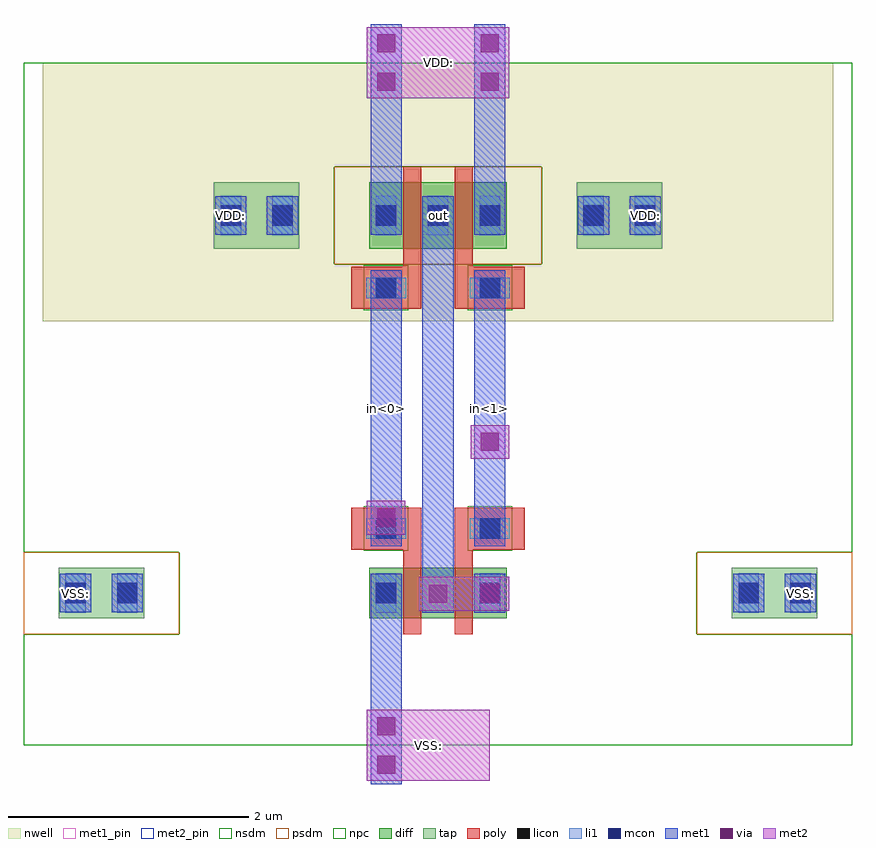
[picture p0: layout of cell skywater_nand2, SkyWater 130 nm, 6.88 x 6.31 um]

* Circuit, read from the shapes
.subckt skywater_nand2 VDD: VSS: in<0> in<1> out
XM1 n1 in<0> VSS: VSS: sky130_fd_pr__nfet_01v8 w=0.42 l=0.15
XM2 out in<1> n1 VSS: sky130_fd_pr__nfet_01v8 w=0.42 l=0.15
XM3 out in<0> VDD: VDD: sky130_fd_pr__pfet_01v8 w=0.55 l=0.15
XM4 VDD: in<1> out VDD: sky130_fd_pr__pfet_01v8 w=0.55 l=0.15
.ends

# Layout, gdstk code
from math import pi, radians
import gdstk
lib = gdstk.Library(unit=1e-6, precision=1e-09)
def R(c, l, rs):  # rectangles x0, y0, x1, y1
    for r in rs: c.add(gdstk.rectangle(r[:2], r[2:], *l))
def A(c, l, x, y, w, h, nx, ny, dx, dy):  # array of equal rectangles
    R(c, l, [(x+i*dx, y+j*dy, x+i*dx+w, y+j*dy+h) for i in range(nx) for j in range(ny)])
def P(c, l, *ps):  # polygons
    for p in ps: c.add(gdstk.Polygon(p, *l))
nwell = (64, 20)
diff = (65, 20)
tap = (65, 44)
poly = (66, 20)
licon = (66, 44)
li1 = (67, 20)
mcon = (67, 44)
met1_pin = (68, 16)
met1 = (68, 20)
via = (68, 44)
met2_pin = (69, 16)
met2 = (69, 20)
nsdm = (93, 44)
psdm = (94, 20)
npc = (95, 20)

skywater_nand2_mosend = lib.new_cell('skywater_nand2_MOSEnd')
R(skywater_nand2_mosend, nsdm, [(0,0,6.02,0.73)])

skywater_nand2_mosend_1 = lib.new_cell('skywater_nand2_MOSEnd_1')
R(skywater_nand2_mosend_1, nwell, [(0,0,6.02,0.67)])
R(skywater_nand2_mosend_1, nsdm, [(0,0,6.02,0.67)])

skywater_nand2_mosconn_1 = lib.new_cell('skywater_nand2_MOSConn_1')
R(skywater_nand2_mosconn_1, diff, [(-0.14,0.605,1,1.025)])
R(skywater_nand2_mosconn_1, poly, [(-0.165,0.105,0.165,0.455), (0.695,0.105,1.025,0.455)])
P(skywater_nand2_mosconn_1, poly, [(0.14,1.155),(0.14,0.455),(-0.29,0.455),(-0.29,0.105),(0.29,0.105),(0.29,1.155)],
  [(0.57,1.155),(0.57,0.105),(1.15,0.105),(1.15,0.455),(0.72,0.455),(0.72,1.155)])
R(skywater_nand2_mosconn_1, licon, [(-0.085,0.195,0.085,0.365), (0.775,0.195,0.945,0.365), (-0.085,0.73,0.085,0.9), (0.775,0.73,0.945,0.9)])
R(skywater_nand2_mosconn_1, li1, [(-0.165,0.195,0.165,0.365), (-0.165,0.195,0.165,0.365), (-0.125,0.195,0.125,0.365), (0.695,0.195,1.025,0.365), (0.695,0.195,1.025,0.365), (0.735,0.195,0.985,0.365), (-0.085,0.65,0.085,0.98), (0.775,0.65,0.945,0.98), (-0.085,0.69,0.085,0.94), (0.775,0.69,0.945,0.94)])
R(skywater_nand2_mosconn_1, mcon, [(-0.085,0.195,0.085,0.365), (0.775,0.195,0.945,0.365), (-0.085,0.73,0.085,0.9), (0.775,0.73,0.945,0.9)])
R(skywater_nand2_mosconn_1, met1, [(-0.13,0.105,0.13,0.425), (0.73,0.105,0.99,0.425), (-0.13,0.135,0.13,0.425), (0.73,0.135,0.99,0.425), (-0.13,0.655,0.13,0.975), (0.73,0.655,0.99,0.975), (-0.13,0.67,0.13,0.96), (0.73,0.67,0.99,0.96)])
R(skywater_nand2_mosconn_1, nsdm, [(0,0,0.86,1.35)])
R(skywater_nand2_mosconn_1, npc, [(-0.185,0.095,0.185,0.465), (0.675,0.095,1.045,0.465)])

skywater_nand2_mosconn = lib.new_cell('skywater_nand2_MOSConn')
R(skywater_nand2_mosconn, nwell, [(0,0,0.86,1.48)])
R(skywater_nand2_mosconn, diff, [(-0.14,0.605,1,1.155)])
R(skywater_nand2_mosconn, poly, [(-0.165,0.105,0.165,0.455), (0.695,0.105,1.025,0.455)])
P(skywater_nand2_mosconn, poly, [(0.14,1.285),(0.14,0.455),(-0.29,0.455),(-0.29,0.105),(0.29,0.105),(0.29,1.285)],
  [(0.57,1.285),(0.57,0.105),(1.15,0.105),(1.15,0.455),(0.72,0.455),(0.72,1.285)])
A(skywater_nand2_mosconn, licon, -0.085, 0.795, 0.17, 0.17, 3, 1, 0.43, 0)
R(skywater_nand2_mosconn, licon, [(-0.085,0.195,0.085,0.365), (0.775,0.195,0.945,0.365)])
A(skywater_nand2_mosconn, li1, -0.085, 0.715, 0.17, 0.33, 3, 1, 0.43, 0)
A(skywater_nand2_mosconn, li1, -0.085, 0.755, 0.17, 0.25, 3, 1, 0.43, 0)
R(skywater_nand2_mosconn, li1, [(-0.165,0.195,0.165,0.365), (-0.165,0.195,0.165,0.365), (-0.125,0.195,0.125,0.365), (0.695,0.195,1.025,0.365), (0.695,0.195,1.025,0.365), (0.735,0.195,0.985,0.365)])
A(skywater_nand2_mosconn, mcon, -0.085, 0.795, 0.17, 0.17, 3, 1, 0.43, 0)
R(skywater_nand2_mosconn, mcon, [(-0.085,0.195,0.085,0.365), (0.775,0.195,0.945,0.365)])
A(skywater_nand2_mosconn, met1, -0.13, 0.72, 0.26, 0.32, 3, 1, 0.43, 0)
A(skywater_nand2_mosconn, met1, -0.13, 0.735, 0.26, 0.29, 3, 1, 0.43, 0)
R(skywater_nand2_mosconn, met1, [(-0.13,0.105,0.13,0.425), (0.73,0.105,0.99,0.425), (-0.13,0.135,0.13,0.425), (0.73,0.135,0.99,0.425)])
R(skywater_nand2_mosconn, nsdm, [(0,0,0.86,0.475), (0,1.285,0.86,1.48)])
R(skywater_nand2_mosconn, psdm, [(0,0.475,0.86,1.285)])
R(skywater_nand2_mosconn, npc, [(-0.185,0.095,0.185,0.465), (0.675,0.095,1.045,0.465)])

skywater_nand2_nand2core = lib.new_cell('skywater_nand2_NAND2Core')
R(skywater_nand2_nand2core, met1, [(-0.13,-0.32,0.13,1.425), (-0.13,-0.32,0.13,0.32), (0.3,1.1,0.56,4.56), (0.3,1.1,0.56,1.42), (0.73,1.1,0.99,1.425), (0.73,1.1,0.99,1.42), (-0.13,1.655,0.13,3.945), (0.73,1.655,0.99,3.945), (-0.13,1.73,0.13,2.05), (0.73,2.36,0.99,2.68), (-0.13,4.24,0.13,5.99), (0.73,4.24,0.99,5.99), (-0.13,5.35,0.13,5.99), (0.73,5.35,0.99,5.99)])
R(skywater_nand2_nand2core, via, [(-0.075,-0.235,0.075,-0.085), (-0.075,0.085,0.075,0.235), (0.355,1.185,0.505,1.335), (0.785,1.185,0.935,1.335), (-0.075,1.815,0.075,1.965), (0.785,2.445,0.935,2.595), (-0.075,5.435,0.075,5.585), (0.785,5.435,0.935,5.585), (-0.075,5.755,0.075,5.905), (0.785,5.755,0.935,5.905)])
R(skywater_nand2_nand2core, met2, [(-0.16,-0.295,0.86,0.295), (-0.16,-0.295,0.16,0.295), (0.27,1.12,1.02,1.4), (0.27,1.12,0.59,1.4), (0.7,1.12,1.02,1.4), (-0.16,1.75,0.16,2.03), (-0.16,1.75,0.16,2.03), (0.7,2.38,1.02,2.66), (0.7,2.38,1.02,2.66), (-0.16,5.375,1.02,5.965), (-0.16,5.375,0.16,5.965), (0.7,5.375,1.02,5.965)])
skywater_nand2_nand2core.add(gdstk.Reference(skywater_nand2_mosconn_1, (0,2.08), x_reflection=True))
skywater_nand2_nand2core.add(gdstk.Reference(skywater_nand2_mosconn, (0,3.52)))

skywater_nand2_mostap = lib.new_cell('skywater_nand2_MOSTap')
R(skywater_nand2_mostap, tap, [(-0.14,0.605,0.57,1.025)])
R(skywater_nand2_mostap, licon, [(-0.085,0.73,0.085,0.9), (0.345,0.73,0.515,0.9)])
R(skywater_nand2_mostap, li1, [(-0.085,0.65,0.085,0.98), (0.345,0.65,0.515,0.98), (-0.085,0.69,0.085,0.94), (0.345,0.69,0.515,0.94)])
R(skywater_nand2_mostap, mcon, [(-0.085,0.73,0.085,0.9), (0.345,0.73,0.515,0.9)])
R(skywater_nand2_mostap, met1, [(-0.13,0.655,0.13,0.975), (0.3,0.655,0.56,0.975), (-0.13,0.67,0.13,0.96), (0.3,0.67,0.56,0.96)])
R(skywater_nand2_mostap, nsdm, [(0,0,0.43,0.475), (0,1.155,0.43,1.35)])
R(skywater_nand2_mostap, psdm, [(0,0.475,0.43,1.155)])

skywater_nand2_mostap_1 = lib.new_cell('skywater_nand2_MOSTap_1')
R(skywater_nand2_mostap_1, nwell, [(0,0,0.43,1.48)])
R(skywater_nand2_mostap_1, tap, [(-0.14,0.605,0.57,1.155)])
R(skywater_nand2_mostap_1, licon, [(-0.085,0.795,0.085,0.965), (0.345,0.795,0.515,0.965)])
R(skywater_nand2_mostap_1, li1, [(-0.085,0.715,0.085,1.045), (0.345,0.715,0.515,1.045), (-0.085,0.755,0.085,1.005), (0.345,0.755,0.515,1.005)])
R(skywater_nand2_mostap_1, mcon, [(-0.085,0.795,0.085,0.965), (0.345,0.795,0.515,0.965)])
R(skywater_nand2_mostap_1, met1, [(-0.13,0.72,0.13,1.04), (0.3,0.72,0.56,1.04), (-0.13,0.735,0.13,1.025), (0.3,0.735,0.56,1.025)])
R(skywater_nand2_mostap_1, nsdm, [(0,0,0.43,1.48)])

c_skywater_nand2_nand2core = lib.new_cell('skywater_nand2_NAND2CoreTap')
c_skywater_nand2_nand2core.add(gdstk.Reference(skywater_nand2_nand2core, (2.58,0)))
c_skywater_nand2_nand2core.add(gdstk.Reference(skywater_nand2_mostap, (0,2.08), x_reflection=True))
c_skywater_nand2_nand2core.add(gdstk.Reference(skywater_nand2_mostap, (6.02,2.08), rotation=pi))
c_skywater_nand2_nand2core.add(gdstk.Reference(skywater_nand2_mostap_1, (4.73,3.52), rotation=pi, x_reflection=True))
c_skywater_nand2_nand2core.add(gdstk.Reference(skywater_nand2_mostap_1, (1.29,3.52)))

skywater_nand2_moscorner = lib.new_cell('skywater_nand2_MOSCorner')
R(skywater_nand2_moscorner, nsdm, [(0,0,0.43,0.73)])

c_skywater_nand2_moscorner = lib.new_cell('skywater_nand2_MOSCorner_1')
R(c_skywater_nand2_moscorner, nwell, [(0.16,0,0.43,0.67)])
R(c_skywater_nand2_moscorner, nsdm, [(0,0,0.43,0.67)])

skywater_nand2_mosrowedg = lib.new_cell('skywater_nand2_MOSRowEdge')
R(skywater_nand2_mosrowedg, nsdm, [(0,0,0.43,0.475), (0,1.155,0.43,1.35)])
R(skywater_nand2_mosrowedg, psdm, [(0,0.475,0.43,1.155)])

c_skywater_nand2_mosrowedg = lib.new_cell('skywater_nand2_MOSRowEdge_1')
R(c_skywater_nand2_mosrowedg, nwell, [(0.16,0,0.43,1.48)])
R(c_skywater_nand2_mosrowedg, nsdm, [(0,0,0.43,1.48)])

skywater_nand2_mosspace = lib.new_cell('skywater_nand2_MOSSpace')
P(skywater_nand2_mosspace, nsdm, [(0,1.35),(0,1.155),(0.43,1.155),(0.43,0.475),(0,0.475),(0,0),(2.15,0),(2.15,1.35)])
R(skywater_nand2_mosspace, psdm, [(0,0.475,0.43,1.155)])

skywater_nand2_mosspace_ = lib.new_cell('skywater_nand2_MOSSpace_1')
P(skywater_nand2_mosspace_, nsdm, [(0,1.35),(0,0),(2.15,0),(2.15,0.475),(1.72,0.475),(1.72,1.155),(2.15,1.155),(2.15,1.35)])
R(skywater_nand2_mosspace_, psdm, [(1.72,0.475,2.15,1.155)])

c_skywater_nand2_mosspace_ = lib.new_cell('skywater_nand2_MOSSpace_2')
R(c_skywater_nand2_mosspace_, nwell, [(0,0,1.29,1.48)])
R(c_skywater_nand2_mosspace_, nsdm, [(0,0,1.29,1.48)])

c_skywater_nand2_mosspace__ = lib.new_cell('skywater_nand2_MOSSpace_5')
R(c_skywater_nand2_mosspace__, nwell, [(0,0,1.29,1.48)])
R(c_skywater_nand2_mosspace__, nsdm, [(0,0,1.29,1.48)])

c_skywater_nand2_mosspace___ = lib.new_cell('skywater_nand2_MOSSpace_3')
R(c_skywater_nand2_mosspace___, nwell, [(0,0,0.86,1.48)])
P(c_skywater_nand2_mosspace___, nsdm, [(0,1.48),(0,0),(0.86,0),(0.86,0.475),(0.43,0.475),(0.43,1.285),(0.86,1.285),(0.86,1.48)])
R(c_skywater_nand2_mosspace___, psdm, [(0.43,0.475,0.86,1.285)])

c_skywater_nand2_mosspace____ = lib.new_cell('skywater_nand2_MOSSpace_4')
R(c_skywater_nand2_mosspace____, nwell, [(0,0,0.86,1.48)])
P(c_skywater_nand2_mosspace____, nsdm, [(0,1.48),(0,1.285),(0.43,1.285),(0.43,0.475),(0,0.475),(0,0),(0.86,0),(0.86,1.48)])
R(c_skywater_nand2_mosspace____, psdm, [(0,0.475,0.43,1.285)])

skywater_nand2_nand2 = lib.new_cell('skywater_nand2_NAND2')
R(skywater_nand2_nand2, nsdm, [(0,2.08,6.88,3.52)])
skywater_nand2_nand2.add(gdstk.Reference(skywater_nand2_mosend, (0.43,0)))
skywater_nand2_nand2.add(gdstk.Reference(skywater_nand2_mosend_1, (0.43,5.67), x_reflection=True))
skywater_nand2_nand2.add(gdstk.Reference(c_skywater_nand2_nand2core, (0.43,0)))
skywater_nand2_nand2.add(gdstk.Reference(skywater_nand2_moscorner, (0,0)))
skywater_nand2_nand2.add(gdstk.Reference(skywater_nand2_moscorner, (6.88,0), rotation=pi, x_reflection=True))
skywater_nand2_nand2.add(gdstk.Reference(c_skywater_nand2_moscorner, (0,5.67), x_reflection=True))
skywater_nand2_nand2.add(gdstk.Reference(c_skywater_nand2_moscorner, (6.88,5.67), rotation=pi))
skywater_nand2_nand2.add(gdstk.Reference(skywater_nand2_mosrowedg, (0,2.08), x_reflection=True))
skywater_nand2_nand2.add(gdstk.Reference(skywater_nand2_mosrowedg, (6.88,2.08), rotation=pi))
skywater_nand2_nand2.add(gdstk.Reference(c_skywater_nand2_mosrowedg, (0,3.52)))
skywater_nand2_nand2.add(gdstk.Reference(c_skywater_nand2_mosrowedg, (6.88,3.52), rotation=pi, x_reflection=True))
skywater_nand2_nand2.add(gdstk.Reference(skywater_nand2_mosspace, (0.86,2.08), x_reflection=True))
skywater_nand2_nand2.add(gdstk.Reference(skywater_nand2_mosspace_, (3.87,2.08), x_reflection=True))
skywater_nand2_nand2.add(gdstk.Reference(c_skywater_nand2_mosspace_, (0.43,3.52)))
skywater_nand2_nand2.add(gdstk.Reference(c_skywater_nand2_mosspace__, (5.16,3.52)))
skywater_nand2_nand2.add(gdstk.Reference(c_skywater_nand2_mosspace___, (2.15,3.52)))
skywater_nand2_nand2.add(gdstk.Reference(c_skywater_nand2_mosspace____, (3.87,3.52)))

skywater_nand2 = lib.new_cell('skywater_nand2')
A(skywater_nand2, met1_pin, 1.59, 4.555, 0.26, 0.32, 3, 1, 1.72, 0)
R(skywater_nand2, met1_pin, [(0.3,1.42,0.56,1.74), (6.32,1.42,6.58,1.74), (2.88,1.97,3.14,4.26), (3.74,1.97,4,4.26)])
R(skywater_nand2, met2_pin, [(2.85,0.02,3.87,0.61), (2.85,5.69,4.03,6.28)])
skywater_nand2.add(gdstk.Reference(skywater_nand2_nand2, (0,0.315)))
skywater_nand2.add(gdstk.Label('VDD:', (1.72,4.715), layer=68, texttype=16))
skywater_nand2.add(gdstk.Label('VDD:', (5.16,4.715), layer=68, texttype=16))
skywater_nand2.add(gdstk.Label('VSS:', (0.43,1.58), layer=68, texttype=16))
skywater_nand2.add(gdstk.Label('VSS:', (6.45,1.58), layer=68, texttype=16))
skywater_nand2.add(gdstk.Label('in<0>', (3.01,3.115), layer=68, texttype=16))
skywater_nand2.add(gdstk.Label('in<1>', (3.87,3.115), layer=68, texttype=16))
skywater_nand2.add(gdstk.Label('out', (3.44,4.715), layer=68, texttype=16))
skywater_nand2.add(gdstk.Label('VDD:', (3.44,5.985), layer=69, texttype=16))
skywater_nand2.add(gdstk.Label('VSS:', (3.36,0.315), layer=69, texttype=16))

lib.write_gds('skywater_nand2.gds')
